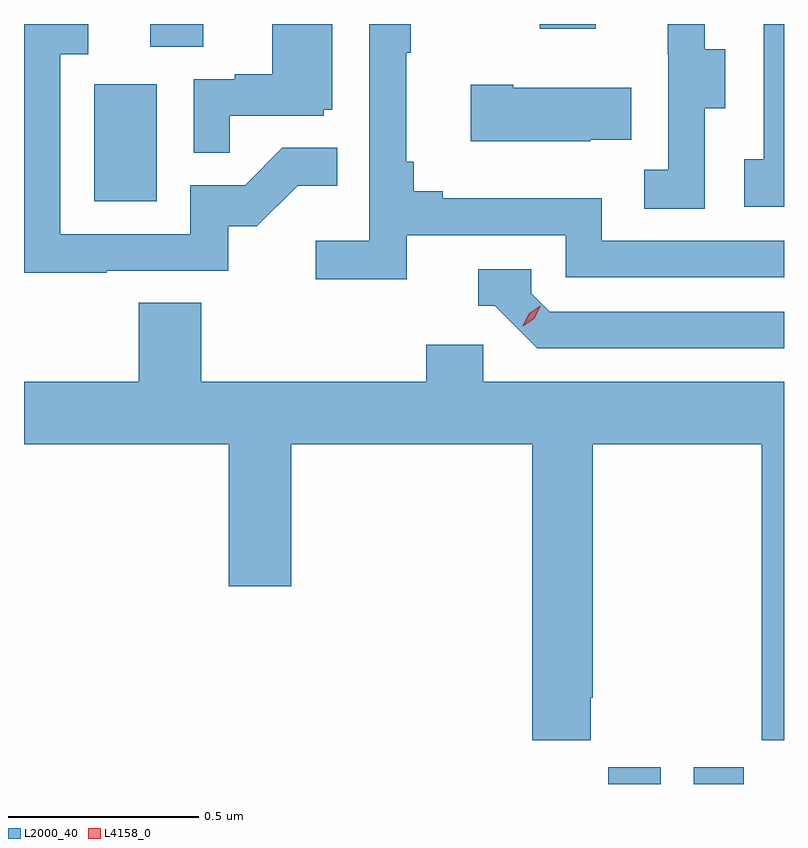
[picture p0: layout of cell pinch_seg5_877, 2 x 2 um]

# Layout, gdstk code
import gdstk
lib = gdstk.Library(unit=1e-6, precision=1e-09)
def R(c, l, rs):  # rectangles x0, y0, x1, y1
    for r in rs: c.add(gdstk.rectangle(r[:2], r[2:], *l))
def P(c, l, *ps):  # polygons
    for p in ps: c.add(gdstk.Polygon(p, *l))
L2000_40 = (2000, 40)
L4158_0 = (4158, 0)

pinch_seg5_877 = lib.new_cell('pinch_seg5_877')
R(pinch_seg5_877, L2000_40, [(825.347,873.182,825.484,873.226), (825.572,873.182,825.703,873.226), (823.994,874.716,824.158,875.023), (824.141,875.122,824.281,875.182), (825.166,875.169,825.313,875.182)])
P(pinch_seg5_877, L2000_40, [(824.816,874.626),(825.234,874.626),(825.234,874.515),(825.809,874.515),(825.809,874.611),(825.33,874.611),(825.33,874.723),(824.911,874.723),(824.911,874.742),(824.834,874.742),(824.834,874.819),(824.815,874.819),(824.815,875.107),(824.827,875.107),(824.827,875.182),(824.718,875.182),(824.718,874.612),(824.577,874.612),(824.577,874.51),(824.816,874.51)],
  [(824.027,874.533),(824.346,874.533),(824.346,874.65),(824.422,874.65),(824.529,874.757),(824.633,874.757),(824.633,874.856),(824.489,874.856),(824.391,874.758),(824.247,874.758),(824.247,874.629),(823.905,874.629),(823.905,875.103),(823.978,875.103),(823.978,875.182),(823.809,875.182),(823.809,874.528),(824.027,874.528)],
  [(824.351,874.941),(824.598,874.941),(824.598,874.956),(824.62,874.956),(824.62,875.182),(824.462,875.182),(824.462,875.05),(824.363,875.05),(824.363,875.037),(824.256,875.037),(824.256,874.843),(824.351,874.843)],
  [(825.809,875.182),(825.756,875.182),(825.756,874.826),(825.705,874.826),(825.705,874.701),(825.809,874.701)],
  [(825.6,874.96),(825.655,874.96),(825.655,875.115),(825.601,875.115),(825.601,875.182),(825.503,875.182),(825.503,875.103),(825.504,875.103),(825.504,874.799),(825.441,874.799),(825.441,874.696),(825.6,874.696)],
  [(825.299,874.877),(825.407,874.877),(825.407,875.014),(825.097,875.014),(825.097,875.022),(824.985,875.022),(824.985,874.874),(825.299,874.874)],
  [(825.809,874.425),(825.192,874.425),(825.144,874.473),(825.144,874.536),(825.005,874.536),(825.005,874.44),(825.048,874.44),(825.159,874.329),(825.809,874.329)],
  [(825.301,873.409),(825.306,873.409),(825.306,874.076),(825.751,874.076),(825.751,873.297),(825.809,873.297),(825.809,874.24),(825.018,874.24),(825.018,874.338),(824.867,874.338),(824.867,874.24),(824.276,874.24),(824.276,874.448),(824.111,874.448),(824.111,874.24),(823.809,874.24),(823.809,874.076),(824.348,874.076),(824.348,873.702),(824.512,873.702),(824.512,874.076),(825.146,874.076),(825.146,873.297),(825.301,873.297)])
P(pinch_seg5_877, L4158_0, [(825.121,874.386),(825.121,874.387),(825.137,874.42),(825.167,874.44),(825.167,874.44),(825.167,874.439),(825.152,874.406),(825.121,874.386)])

lib.write_gds('pinch_seg5_877.gds')
